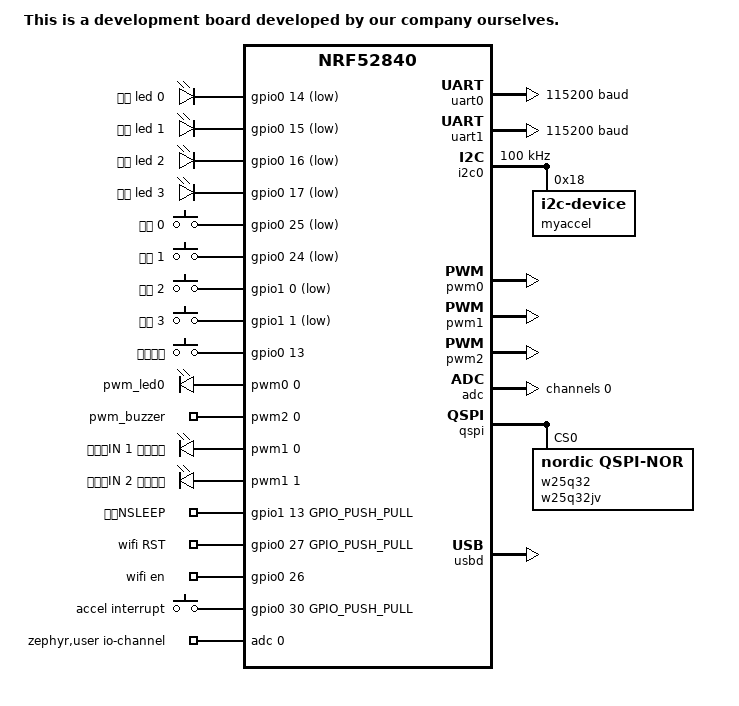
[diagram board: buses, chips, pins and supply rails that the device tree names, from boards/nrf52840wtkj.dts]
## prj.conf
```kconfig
CONFIG_GPIO=y
CONFIG_LOG=y
CONFIG_SERIAL=y
CONFIG_UART_ASYNC_API=y
CONFIG_I2C=y
CONFIG_I2C_NRFX=y
CONFIG_PINCTRL=y
```

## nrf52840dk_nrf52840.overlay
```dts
/* For more help, browse the devicetree documentation at https://docs.zephyrproject.org/latest/build/dts/index.html
 * You can also visit the nRF DeviceTree extension documentation at https://docs.nordicsemi.com/bundle/nrf-connect-vscode/page/guides/ncs_configure_app.html#devicetree-support-in-the-extension
 */
&button0 {
	gpios = <&gpio0 25 (GPIO_ACTIVE_LOW | GPIO_PULL_UP)>;
};

&led0 {
	gpios = <&gpio0 14 GPIO_ACTIVE_LOW>;
};

&led1 {
	gpios = <&gpio0 15 GPIO_ACTIVE_LOW>;
};

&led2 {
	gpios = <&gpio0 16 GPIO_ACTIVE_LOW>;
};

&led3 {
	gpios = <&gpio0 17 GPIO_ACTIVE_LOW>;
};
```

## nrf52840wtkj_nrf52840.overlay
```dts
/* For more help, browse the devicetree documentation at https://docs.zephyrproject.org/latest/build/dts/index.html
 * You can also visit the nRF DeviceTree extension documentation at https://docs.nordicsemi.com/bundle/nrf-connect-vscode/page/guides/ncs_configure_app.html#devicetree-support-in-the-extension
 */
```

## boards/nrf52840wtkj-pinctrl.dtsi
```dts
&pinctrl {
    uart0_default: uart0_default {
        group1 {
            psels = <NRF_PSEL(UART_TX, 0, 8)>;
        };
        group2 {
            psels = <NRF_PSEL(UART_RX, 0, 7)>;
            bias-pull-up;
        };
    };

    uart0_sleep: uart0_sleep {
        group1 {
            psels = <NRF_PSEL(UART_TX, 0, 8)>,
                    <NRF_PSEL(UART_RX, 0, 7)>;
            low-power-enable;
        };
    };

    uart1_default: uart1_default {
        group1 {
            psels = <NRF_PSEL(UART_TX, 0, 6)>;
        };
        group2 {
            psels = <NRF_PSEL(UART_RX, 0, 31)>;
            bias-pull-up;
        };
    };

    uart1_sleep: uart1_sleep {
        group1 {
            psels = <NRF_PSEL(UART_TX, 0, 6)>,
                    <NRF_PSEL(UART_RX, 0, 31)>;
            low-power-enable;
        };
    };

    i2c0_default: i2c0_default {
        group1 {
            psels = <NRF_PSEL(TWIM_SDA, 0, 28)>,
                    <NRF_PSEL(TWIM_SCL, 0, 29)>;
            bias-pull-up;
        };
    };

    i2c0_sleep: i2c0_sleep {
        group1 {
            psels = <NRF_PSEL(TWIM_SDA, 0, 28)>,
                    <NRF_PSEL(TWIM_SCL, 0, 29)>;
            low-power-enable;
        };
    };

    pwm0_default: pwm0_default {
        group1 {
            psels = <NRF_PSEL(PWM_OUT0, 0, 14)>;//配置输出通道0， 实际硬件上的p0.14引脚
            nordic,invert;//配置PWM输出信号反向（翻转高低电平）。
        };
    };

    pwm0_sleep: pwm0_sleep {
        group1 {
            psels = <NRF_PSEL(PWM_OUT0, 0, 14)>;

            low-power-enable;//低功耗模式，当设备进入睡眠状态时，切换到该配置，P0.14 引脚进入低功耗状态，降低待机功耗。
        };
    };

    pwm1_default: pwm1_default {
        group1 {
            psels = <NRF_PSEL(PWM_OUT0, 1, 14)>, //配置输出通道0， 实际硬件上的p1.14引脚
            <NRF_PSEL(PWM_OUT1, 1, 15)>;
        };
    };

    pwm1_sleep: pwm1_sleep {
        group1 {
            psels = <NRF_PSEL(PWM_OUT0, 1, 14)>,
                    <NRF_PSEL(PWM_OUT1, 1, 15)>;
            low-power-enable;//低功耗模式，当设备进入睡眠状态时，切换到该配置，P1.14 引脚进入低功耗状态，降低待机功耗。
        };
    };
    pwm2_default: pwm2_default {
        group1 {
            psels = <NRF_PSEL(PWM_OUT0, 1, 8)>; //配置输出通道0， 实际硬件上的p1.14引脚
        };
    };
    pwm2_sleep: pwm2_sleep {
        group1 {
            psels = <NRF_PSEL(PWM_OUT0, 1, 8)>;
            low-power-enable;//低功耗模式，当设备进入睡眠状态时，切换到该配置，P1.14 引脚进入低功耗状态，降低待机功耗。
        };
    };
    qspi_default: qspi_default {
        group1 {
            psels = <NRF_PSEL(QSPI_CSN, 1, 9)>,
                    <NRF_PSEL(QSPI_SCK, 0, 19)>,
                    <NRF_PSEL(QSPI_IO0, 0, 20)>,
                    <NRF_PSEL(QSPI_IO1, 0, 21)>,
                    <NRF_PSEL(QSPI_IO2, 0, 22)>,
                    <NRF_PSEL(QSPI_IO3, 0, 23)>;
        };
        
    };

    qspi_sleep: qspi_sleep {
        group1 {
            psels = <NRF_PSEL(QSPI_CSN, 1, 9)>,
                    <NRF_PSEL(QSPI_SCK, 0, 19)>,
                    <NRF_PSEL(QSPI_IO0, 0, 20)>,
                    <NRF_PSEL(QSPI_IO1, 0, 21)>,
                    <NRF_PSEL(QSPI_IO2, 0, 22)>,
                    <NRF_PSEL(QSPI_IO3, 0, 23)>;
            low-power-enable;
        };
    };

    i2s0_default: i2s0_default {
        group1 {
            psels = <NRF_PSEL(I2S_SDIN, 1, 12)>,
                    <NRF_PSEL(I2S_LRCK_M, 1, 10)>,
                    <NRF_PSEL(I2S_SCK_M, 1, 11)>;
        };
    };

    i2s0_sleep: i2s0_sleep {
        group1 {
            psels = <NRF_PSEL(I2S_SDIN, 0, 12)>;
            low-power-enable;
        };
    };
};
```

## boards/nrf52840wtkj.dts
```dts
/dts-v1/;
#include <nordic/nrf52840_qiaa.dtsi>
#include "nrf52840wtkj-pinctrl.dtsi"
#include <zephyr/dt-bindings/input/input-event-codes.h>

/ {
	model = "This is a development board developed by our company ourselves.";
	compatible = "wtkj,nrf52840wtkj";

	chosen {
		zephyr,sram = &sram0;
		zephyr,flash = &flash0;
		zephyr,code-partition = &slot0_partition;
		zephyr,console =  &uart0 ;
		zephyr,shell-uart =  &uart0;
		zephyr,uart-mcumgr = &uart0;
		// 为应用程序添加外部闪存
		nordic,pm-ext-flash=&w25q32;
	};

	leds{
		compatible = "gpio-leds";
		led0: led_0{
			gpios = <&gpio0 14 GPIO_ACTIVE_LOW>;
			label = "蓝色 led 0";
		};
		led1: led_1{
			gpios = <&gpio0 15 GPIO_ACTIVE_LOW>;
			label = "蓝色 led 1";
		};
		led2: led_2{
			gpios = <&gpio0 16 GPIO_ACTIVE_LOW>;
			label = "蓝色 led 2";
		};
		led3: led_3{
			gpios = <&gpio0 17 GPIO_ACTIVE_LOW>;
			label = "蓝色 led 3";
		};
	};
	buttons{
		compatible = "gpio-keys";
		button0: button_0{
			gpios = <&gpio0 25 (GPIO_ACTIVE_LOW | GPIO_PULL_UP)>;
			label = "按键 0";
			zephyr,code = <INPUT_KEY_0>;
		};
		button1: button_1{
			gpios = <&gpio0 24 (GPIO_PULL_UP|GPIO_ACTIVE_LOW)>;
			label = "按键 1";
			zephyr,code = <INPUT_KEY_1>;
		};
		button2: button_2{
			gpios = <&gpio1 0 (GPIO_ACTIVE_LOW | GPIO_PULL_UP)>;
			label = "按键 2";
			zephyr,code = <INPUT_KEY_2>;
		};
		button3: button_3{
			gpios = <&gpio1 1 (GPIO_ACTIVE_LOW | GPIO_PULL_UP)>;
			label = "按键 3";
			zephyr,code = <INPUT_KEY_3>;
		};
		touch: button_touch{
			gpios = <&gpio0 13 (GPIO_ACTIVE_HIGH | GPIO_PULL_DOWN)>;
			label = "触控按键";
			zephyr,code = <INPUT_KEY_4>;
		};
	};
	pwmleds{
		compatible = "pwm-leds";
		pwm_led0: pwm_led_0{
			pwms = <&pwm0 0 PWM_MSEC(20) PWM_POLARITY_NORMAL>;
		};
	};
	pwmbuzzer{
		compatible = "pwm-leds";
		pwm_buzzer: pwm_buzzer{
			pwms = <&pwm2 0 PWM_USEC(500) PWM_POLARITY_NORMAL>; //pwm 周期为500us
		};
	};
	motordriver {
		compatible = "pwm-leds";

		/* 通道0：控制电机正转/方向1（关联PWM1通道0） */
		motor_in_1: motor_in_1{
			pwms = <&pwm1 0 PWM_MSEC(20) PWM_POLARITY_NORMAL>;
			label = "电机的IN 1 引脚控制";
		};
		/* 通道1：控制电机反转/方向2（关联PWM1通道1） */
		motor_in_2: motor_in_2{
			pwms = <&pwm1 1 PWM_MSEC(20) PWM_POLARITY_NORMAL>;
			label = "电机的IN 2 引脚控制";
		};
	};
	gpiokeys{
		compatible = "gpio-keys";
		motor_nsleep: motor_nsleep{
			gpios = <&gpio1 13 GPIO_PUSH_PULL>;
			label = "电机NSLEEP";
		};
		wifi_rst: wifi_rst{
			gpios = <&gpio0 27 GPIO_PUSH_PULL>;
			label = "wifi RST";
		};
		wifi_en: wifi_en{
			gpios = <&gpio0 26 0>;
			label = "wifi en";
		};
		accel_interrupt: accel_interrupt{
			gpios = <&gpio0 30 GPIO_PUSH_PULL>;
			label = "accel interrupt";
		};
	};

	/* These aliases are provided for compatibility with samples */
	aliases {
		led0 = &led0;
		led1 = &led1;
		led2 = &led2;
		led3 = &led3;
		pwm-led0 = &pwm_led0;
		sw0 = &button0;
		sw1 = &button1;
		sw2 = &button2;
		sw3 = &button3;
		sw4 = &touch;
		bootloader-led0 = &led0;
		mcuboot-button0 = &button0;
		mcuboot-led0 = &led0;
		watchdog0 = &wdt0;
	};

	zephyr,user {
		io-channels = <&adc 0>;
	};
};

&flash0 {
	partitions {
		compatible = "fixed-partitions";
		#address-cells = <1>;
		#size-cells = <1>;

		boot_partition: partition@0 {
			label = "mcuboot";
			reg = <0x00000000 DT_SIZE_K(48)>;
		};

		slot0_partition: partition@c000 {
			label = "image-0";
			reg = <0x0000c000 DT_SIZE_K(472)>;
		};

		slot1_partition: partition@82000 {
			label = "image-1";
			reg = <0x00082000 DT_SIZE_K(472)>;
		};

		storage_partition: partition@f8000 {
			label = "storage";
			reg = <0x000f8000 DT_SIZE_K(32)>;
		};
	};
};
&gpiote {
	status = "okay";
};
&gpio0 {
	status = "okay";
};
&gpio1 {
	status = "okay";
};

//配置uart0
&uart0 {
	compatible = "nordic,nrf-uarte";
	status = "okay";
	current-speed = <115200>;
	pinctrl-0 = <&uart0_default>;
	pinctrl-1 = <&uart0_sleep>;
	pinctrl-names = "default","sleep";
};

//配置uart1
&uart1 {
	compatible = "nordic,nrf-uarte";
	status = "okay";
	current-speed = <115200>;
	pinctrl-0 = <&uart1_default>;
	pinctrl-1 = <&uart1_sleep>;
	pinctrl-names = "default","sleep";
};

//配置i2c0
&i2c0 {
	compatible = "nordic,nrf-twim";
	status = "okay";
	pinctrl-0 = <&i2c0_default>;
	pinctrl-1 = <&i2c0_sleep>;
	pinctrl-names = "default","sleep";
	clock-frequency = <I2C_BITRATE_STANDARD>;
	myaccel: lis2dh12@18 {
		compatible = "i2c-device";
		reg = <0x18>;
	};
};

//配置pwm0
&pwm0 {
	status = "okay";
	pinctrl-0 = <&pwm0_default>;
	pinctrl-1 = <&pwm0_sleep>;//注：这里有下画波浪线，是因为引脚被 led0 也使用了。
	pinctrl-names = "default","sleep";
};

//配置pwm1
&pwm1 {
	status = "okay";
	pinctrl-0 = <&pwm1_default>;
	pinctrl-1 = <&pwm1_sleep>;
	pinctrl-names = "default","sleep";
};
&pwm2 {
	status = "okay";
	pinctrl-0 = <&pwm2_default>;
	pinctrl-1 = <&pwm2_sleep>;
	pinctrl-names = "default","sleep";
};
&adc {
	#address-cells = <1>;
	#size-cells = <0>;
	status = "okay";
	channel@0 {
		reg = <0>;
		zephyr,gain = "ADC_GAIN_1_6";//增益 6倍
		zephyr,reference = "ADC_REF_INTERNAL"; //内部 0.6伏参考电压
		zephyr,acquisition-time = <ADC_ACQ_TIME_DEFAULT>;//采样时间
		zephyr,input-positive = <NRF_SAADC_AIN0>; /* P0.02 for nRF52xx, P0.04 for nRF5340 */
		zephyr,resolution = <12>;//分辨率12位
	};
};


&qspi {
	status = "okay";
	pinctrl-0 = <&qspi_default>;
	pinctrl-1 = <&qspi_sleep>;
	pinctrl-names = "default", "sleep";
	w25q32: w25q32jv@0 {
		compatible = "nordic,qspi-nor";
		status = "okay";
		reg = <0x0>;
		sck-frequency = <10000000>;/*时钟频率10Mhz */
		jedec-id = [ ef 40 16  ]; /* 厂商ID+设备ID，手册8.1节 */
		size = <0x2000000>;/* 这里填写flash大小（位） 0x2000000 位 = 0x400000 字节 =  4096kB = 4MB */

		/* Quad 读指令：Fast Read Quad Output（0x6Bh），需 QE=1 */
		readoc = "fastread";
		/* Quad 写指令：Quad Input Page Program（0x32h），需 QE=1 */
		writeoc = "pp";

		sfdp-bfp = [ e5 20 f1 ff ff ff ff 03 44 eb 08 6b 08 3b 04 bb ee ff ff ff ff ff 00 ff ff ff 00 ff 0c 10 0f 52 10 d8 00 ff 23 72 f5 00 82 ed 04 cc 44 83 68 44 30 b0 30 b0 f7 c4 d5 5c 00 be 29 ff f0 d0 ff ff  ];
		has-dpd;                          // W25Q32 支持 DPD，保留该属性
		t-enter-dpd = <300>;              // 进入 DPD 模式等待时间：0.3 微秒（µs，datasheet 规定最小 300ns）
		t-exit-dpd = <10000>;             // 退出 DPD 模式等待时间：10 微秒（µs，需等待芯片唤醒稳定）
		
	};
};

// &i2s0 {
	//     status = "okay";
	//     pinctrl-0 = <&i2s0_default>;
	//     pinctrl-1 = <&i2s0_sleep>;
	//     pinctrl-names = "default", "sleep";
// };


zephyr_udc0: &usbd {
	compatible = "nordic,nrf-usbd";
	status = "okay";
};
&uicr {
	gpio-as-nreset;
};
```

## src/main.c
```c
#include <stdio.h>
#include <zephyr/kernel.h>
#include <zephyr/drivers/gpio.h>

//定义栈大小
#define STACK_THREAD0_SIZE 512
#define STACK_THREAD1_SIZE 512
#define STACK_WORKER_SIZE 512

//定义线程优先级
#define THREAD0_PRIORITY 2
#define THREAD1_PRIORITY 3
#define WORKER_PRIORITY 4

K_THREAD_STACK_DEFINE(my_stack_area, STACK_THREAD0_SIZE);
struct k_work_q offload_work_q;//线程列队结构体
struct k_work work;//工作项结构体

void emulate_work(void)
{
    for (volatile int i = 0; i < 100000; i++);
}
void offload_function(struct k_work *work)
{
    uint64_t ts_start = k_uptime_get();
    emulate_work();
    int64_t work_run_time = k_uptime_delta(&ts_start);
    printk("[WORKER] work execute time: %lld ms\n", work_run_time);
}
void thread0(void)
{
        //初始化
    k_work_queue_start(&offload_work_q,my_stack_area,
                       STACK_WORKER_SIZE,
                       WORKER_PRIORITY,
                       NULL);
    k_work_init(&work, offload_function);
    uint64_t time_stap;
    int64_t delta_time;
    while (1)
    {
        time_stap = k_uptime_get();
        k_work_submit_to_queue(&offload_work_q, &work);
        delta_time = k_uptime_delta(&time_stap);
        printk("Thread 0 is running, delta time: %lld ms\n", delta_time);
        k_msleep(20);
    }
}
void thread1(void)
{
    uint64_t time_stap;
    int64_t delta_time;
    while (1)
    {
        time_stap = k_uptime_get();
        emulate_work();
        delta_time = k_uptime_delta(&time_stap);
        printk("Thread 1 is running, delta time: %lld ms\n", delta_time);
        k_msleep(20);
    }
}
K_THREAD_DEFINE(thread0_id, STACK_THREAD0_SIZE, thread0, NULL, NULL, NULL, THREAD0_PRIORITY, 0, 0);     
K_THREAD_DEFINE(thread1_id, STACK_THREAD1_SIZE, thread1, NULL, NULL, NULL, THREAD1_PRIORITY, 0, 0);




/* //多线程学习
#include <stdio.h>
#include "zephyr/kernel.h"
#include <zephyr/drivers/gpio.h>
#include <zephyr/sys/atomic.h>
#define STACKSIZE 1024	   // 栈大小
#define THREAD0_PRIORITY 6 // 优先级高会打断优先级低
#define THREAD1_PRIORITY 7 // 线程1 优先级
#define LED_COUNT       2

static const struct gpio_dt_spec leds[LED_COUNT] = {
    GPIO_DT_SPEC_GET(DT_ALIAS(led0), gpios),
    GPIO_DT_SPEC_GET(DT_ALIAS(led3), gpios),
};
void thread0()
{
    gpio_pin_configure_dt(&leds[0],GPIO_OUTPUT|GPIO_ACTIVE_LOW);
    gpio_pin_set_dt(&leds[0],1);
    gpio_pin_configure_dt(&leds[1],GPIO_OUTPUT|GPIO_ACTIVE_LOW);
    gpio_pin_set_dt(&leds[1],1);
	while (1)
	{
        
        gpio_pin_toggle_dt(&leds[0]); // 翻转LED逻辑电平
        gpio_pin_toggle_dt(&leds[1]);
		printk("hello i am thread0\n");
        k_msleep(1000); // 让出CPU，线程0进入就绪态
	}
}
 void thread1()
{
    gpio_pin_configure_dt(&leds[1],GPIO_OUTPUT|GPIO_ACTIVE_LOW);
    gpio_pin_set_dt(&leds[1],1);
	while (1)
	{
        gpio_pin_toggle_dt(&leds[1]); // 翻转LED逻辑电平
		printk("hello i am thread1\n");
        k_msleep(100); // 让出CPU，线程1进入就绪态
	}
} 
// 静态方式创建线程
K_THREAD_DEFINE(thread0_id, STACKSIZE, thread0, NULL, NULL, NULL, THREAD0_PRIORITY, 0, 0);
K_THREAD_DEFINE(thread1_id, STACKSIZE, thread1, NULL, NULL, NULL, THREAD1_PRIORITY, 0, 0);

 int main(void)
{
	k_sleep(K_SECONDS(1));
	return 0;
}  */



                    
/* //加速度传感器 LIS2DH12 测试程序
#include <errno.h>
#include <stdint.h>
#include <zephyr/drivers/i2c.h>
#include <zephyr/kernel.h>
#include <zephyr/sys/util.h>

#define LIS2DH12_REG_WHO_AM_I       0x0F
#define LIS2DH12_REG_CTRL1          0x20
#define LIS2DH12_REG_CTRL4          0x23
#define LIS2DH12_REG_STATUS         0x27
#define LIS2DH12_REG_OUT_X_L        0x28
#define LIS2DH12_WHO_AM_I_VALUE     0x33
#define LIS2DH12_AUTO_INCREMENT     BIT(7)

//CTRL_REG1：100 Hz，X/Y/Z 启用，高分辨率模式。
#define LIS2DH12_CTRL1_ODR_100_HZ   (5U << 4)
#define LIS2DH12_CTRL1_XYZ_ENABLE   (BIT(0) | BIT(1) | BIT(2))
#define LIS2DH12_CTRL1_VALUE        \
	(LIS2DH12_CTRL1_ODR_100_HZ | LIS2DH12_CTRL1_XYZ_ENABLE)

//CTRL_REG4：块数据更新，高分辨率，量程为±2g
#define LIS2DH12_CTRL4_BDU          BIT(7)
#define LIS2DH12_CTRL4_FS_2G        (0U << 4)
#define LIS2DH12_CTRL4_HR           BIT(3)
#define LIS2DH12_CTRL4_VALUE        \
	(LIS2DH12_CTRL4_BDU | LIS2DH12_CTRL4_FS_2G | LIS2DH12_CTRL4_HR)

#define LIS2DH12_STATUS_DRDY_MASK   BIT_MASK(4)
#define LIS2DH12_ACCEL_BURST_SIZE   7U

struct lis2dh12_sample {
	uint8_t status;

	int16_t x_raw;
	int16_t y_raw;
	int16_t z_raw;

	int32_t x_mg;
	int32_t y_mg;
	int32_t z_mg;
};

static const struct i2c_dt_spec lis2dh12 =
	I2C_DT_SPEC_GET(DT_NODELABEL(myaccel));

static int lis2dh12_write_reg(uint8_t reg, uint8_t value)
{
	uint8_t buffer[2] = {reg, value};

	return i2c_write_dt(&lis2dh12, buffer, sizeof(buffer));
}

static int lis2dh12_init(void)
{
	uint8_t id = 0;
	int ret;

	if (!i2c_is_ready_dt(&lis2dh12)) {
		printk("LIS2DH12: I2C bus is not ready\n");
		return -ENODEV;
	}
	//The device needs a few milliseconds after power-on. 
	k_sleep(K_MSEC(10));

	ret = i2c_reg_read_byte_dt(&lis2dh12, LIS2DH12_REG_WHO_AM_I, &id);
	if (ret < 0) {
		printk("LIS2DH12: WHO_AM_I read failed: %d\n", ret);
		return ret;
	}
	if (id != LIS2DH12_WHO_AM_I_VALUE) {
		printk("LIS2DH12: unexpected WHO_AM_I 0x%02X\n", id);
		return -ENODEV;
	}
	// 在更改传感器配置时，请停止传感器
	ret = lis2dh12_write_reg(LIS2DH12_REG_CTRL1, 0);
	if (ret < 0) {
		return ret;
	}

	ret = lis2dh12_write_reg(LIS2DH12_REG_CTRL4, LIS2DH12_CTRL4_VALUE);
	if (ret < 0) {
		return ret;
	}

	ret = lis2dh12_write_reg(LIS2DH12_REG_CTRL1, LIS2DH12_CTRL1_VALUE);
	if (ret < 0) {
		return ret;
	}

	k_sleep(K_MSEC(20));
	printk("LIS2DH12: initialized, WHO_AM_I=0x%02X\n", id);

	return 0;
}
//在±2 g的高分辨率模式下，12位原始值的标度为
//每计数单位约1000/1024毫克。
static int32_t lis2dh12_raw_to_mg(int16_t raw)
{
	int32_t scaled = (int32_t)raw * 1000;

	return (scaled >= 0) ? ((scaled + 512) / 1024)
			     : ((scaled - 512) / 1024);
}

static void lis2dh12_get_axis(const uint8_t data[LIS2DH12_ACCEL_BURST_SIZE],
			      size_t offset, int16_t *raw, int32_t *mg)
{
	int16_t value;

	value = (int16_t)((uint16_t)data[offset] |
			  ((uint16_t)data[offset + 1] << 8));

	//LIS2DH 数据为左对齐；保留带符号的 12 位值。
	*raw = value >> 4;
	*mg = lis2dh12_raw_to_mg(*raw);
}

static int lis2dh12_read(struct lis2dh12_sample *sample)
{
	uint8_t data[LIS2DH12_ACCEL_BURST_SIZE];
	int ret;
	//
    //在一次自动递增的传输中读取 STATUS 以及随后的 X/Y/Z 的 LSB/MSB。
    //这样可以确保三个轴的数据均来自同一个采样点。
    //
	ret = i2c_burst_read_dt(
		&lis2dh12,
		LIS2DH12_REG_STATUS | LIS2DH12_AUTO_INCREMENT,
		data,
		sizeof(data));

	if (ret < 0) {
		return ret;
	}

	sample->status = data[0];
	if ((sample->status & LIS2DH12_STATUS_DRDY_MASK) == 0U) {
		return -EAGAIN;
	}

	lis2dh12_get_axis(data, 1, &sample->x_raw, &sample->x_mg);
	lis2dh12_get_axis(data, 3, &sample->y_raw, &sample->y_mg);
	lis2dh12_get_axis(data, 5, &sample->z_raw, &sample->z_mg);

	return 0;
}
int main(void)
{
	struct lis2dh12_sample sample = {0};
	int ret;

	ret = lis2dh12_init();
	if (ret < 0) {
		printk("LIS2DH12: initialization failed: %d\n", ret);
		while (1) {
			k_sleep(K_FOREVER);
		}
	}
	while (1) {
		ret = lis2dh12_read(&sample);
		if (ret == 0) {
			printk("raw X=%d Y=%d Z=%d | mg "
			       "X=%d Y=%d Z=%d\n",
			       sample.x_raw, sample.y_raw, sample.z_raw,
			       sample.x_mg, sample.y_mg, sample.z_mg);
		} else if (ret != -EAGAIN) {
			printk("LIS2DH12: read failed: %d\n", ret);
		}

		k_sleep(K_MSEC(100));
	}
} */




/*i2c通信测试
#include <stdio.h>
#include <zephyr/kernel.h>
#include <zephyr/logging/log.h>
#include <zephyr/drivers/i2c.h>
static struct i2c_dt_spec i2c0_struct = I2C_DT_SPEC_GET(DT_NODELABEL(myaccel));

int main(void)
{

    while (1) 
    {
        uint8_t who_am_i = 0x0f;
        uint8_t rx_buf[1] = {0};
        i2c_write_dt(&i2c0_struct,&who_am_i, 1);   
        i2c_read_dt(&i2c0_struct, rx_buf, 1);
        k_sleep(K_SECONDS(0.1));
    }
    return 0;
} */




/* //串口异步收发（调用中断）
#include <stdio.h>
#include <zephyr/kernel.h>
#include <zephyr/logging/log.h>
#include <zephyr/drivers/uart.h>

LOG_MODULE_REGISTER(main, LOG_LEVEL_DBG);//设置日志输出级别为DBG，低于该级别的日志不输出
#define UART_NODE DT_NODELABEL(uart0)
const struct device *uart_dev = DEVICE_DT_GET(UART_NODE);
uint8_t rx_buf[10]={0};
void uart_cd(const struct device *dev, 
    struct uart_event *evt, void *user_data)
{
    switch(evt->type)
    {
        case UART_TX_DONE:
            LOG_INF("整个TX缓冲区已传输完毕。");
            break;
        case UART_TX_ABORTED:
            LOG_INF("由于超时或调用了uart_tx_abort，传输被中止");
            break;
        case UART_RX_RDY:
            LOG_INF("已接收的数据已准备好进行处理。");
            LOG_INF("接收到数据时：%s", evt->data.rx.buf);
            break;
        case UART_RX_BUF_REQUEST:
            LOG_INF("驱动程序请求下一个缓冲区以实现连续接收");
            break;
        case UART_RX_BUF_RELEASED:
            LOG_INF(" UART 驱动程序不再使用缓冲区");
            break;
        case  UART_RX_DISABLED: 
            uart_rx_enable(uart_dev,rx_buf,sizeof(rx_buf),100);
            LOG_INF(" RX 已被禁用，可以重新启用。");
            break;
        case  UART_RX_STOPPED:
            LOG_INF("RX 因外部事件而停止运行。");
            break;
        default:
            LOG_INF("Unknown event type: %d", evt->type);
            break;
    }

}
int main(void)
{
    struct uart_config cfg = {
        .baudrate=115200,
        .parity=UART_CFG_PARITY_NONE,//无奇偶校验
        .stop_bits=UART_CFG_STOP_BITS_1,
        .data_bits=UART_CFG_DATA_BITS_8,
        .flow_ctrl=UART_CFG_FLOW_CTRL_NONE//无流控
    };
    // 配置UART
    uart_configure(uart_dev, &cfg);
    //配置回调函数
    uart_callback_set(uart_dev, uart_cd, NULL);
    uart_rx_enable(uart_dev,rx_buf,sizeof(rx_buf),100);
    while (1) 
    {
        k_sleep(K_SECONDS(1));
    }
} */




/* //中断流水灯
//  * 1. 按键0触摸一次，4个LED流水点亮，按键0触摸第二次，3个LED流水点亮，按键0触摸第三次，2个LED流水点亮，按键0触摸第四次，LED0常亮，按键0触摸第五次，全部熄灭。
//  * 2. 按键0触摸时有消抖处理。
//  * 3. LED流水点亮的速度为200ms/盏。
//  * 4. LED0常亮时不闪烁。
 
#include <zephyr/kernel.h>
#include <zephyr/drivers/gpio.h>
#include <zephyr/logging/log.h>
#include <zephyr/sys/atomic.h>

LOG_MODULE_REGISTER(main,LOG_LEVEL_ERR);//设置日志输出级别为ERR，低于该级别的日志不输出

#define button0_NODE DT_NODELABEL(button0)
#define LED_COUNT       4
#define FLOW_DELAY_MS   200
#define DEBOUNCE_MS     200

static const struct gpio_dt_spec button0 =
    GPIO_DT_SPEC_GET(button0_NODE, gpios);
static const struct gpio_dt_spec leds[LED_COUNT] = {
    GPIO_DT_SPEC_GET(DT_ALIAS(led0), gpios),
    GPIO_DT_SPEC_GET(DT_ALIAS(led1), gpios),
    GPIO_DT_SPEC_GET(DT_ALIAS(led2), gpios),
    GPIO_DT_SPEC_GET(DT_ALIAS(led3), gpios),
};
static struct gpio_callback button0_cb;
// 0=全灭，1=四灯流水，2=三灯流水，3=两灯流水，4=单灯常亮 
static atomic_t mode;
//用于通知主线程模式发生变化 
K_SEM_DEFINE(mode_sem, 0, 1);
// 只在 GPIO 中断中访问 
static int64_t last_button0_ms;
static bool has_button0ed;
//触摸中断回调 
static void button0_callback(const struct device *port,
                           struct gpio_callback *cb,
                           gpio_port_pins_t pins)
{
    ARG_UNUSED(port);
    ARG_UNUSED(cb);
    if ((pins & BIT(button0.pin)) == 0U) {
        return;
    }
    int64_t now = k_uptime_get();
    // 过滤短时间内重复产生的触摸中断 (消抖)
    if (has_button0ed && (now - last_button0_ms < DEBOUNCE_MS)) {
        return;
    }
    has_button0ed = true;
    last_button0_ms = now;
    int next_mode = (atomic_get(&mode) + 1) % 5;
    atomic_set(&mode, next_mode);
    k_sem_give(&mode_sem);
}
//index 对应的灯亮，其余灯灭；index=-1 时全灭
static int show_led(int index)
{
    int ret;
    // 先全部关闭，再开启目标灯
    for (int i = 0; i < LED_COUNT; i++) 
    {
        ret = gpio_pin_set_dt(&leds[i], 0);
        if (ret < 0) 
        {
            printk("LED%d off failed: %d\n", i, ret);
            return ret;
        }
    }
    if (index >= 0 && index < LED_COUNT) 
    {
        ret = gpio_pin_set_dt(&leds[index], 1);
        if (ret < 0) {
            printk("LED%d on failed: %d\n", index, ret);
            return ret;
        }
    }
    return 0;
}
int main(void)
{
    int ret;
    // 检查并配置4个LED
    for (int i = 0; i < LED_COUNT; i++) {
        if (!gpio_is_ready_dt(&leds[i])) {
            printk("LED%d is not ready\n", i);
            return 0;
        }
        ret = gpio_pin_configure_dt(
            &leds[i], GPIO_OUTPUT_INACTIVE);
        if (ret < 0) {
            printk("LED%d configure failed: %d\n", i, ret);
            return 0;
        }
    }
    if (!gpio_is_ready_dt(&button0)) {
        printk("button0 is not ready\n");
        return 0;
    }
    ret = gpio_pin_configure_dt(&button0, GPIO_INPUT);
    if (ret < 0) {
        printk("button0 configure failed: %d\n", ret);
        return 0;
    }
    // 先注册回调，再启用中断
    gpio_init_callback(&button0_cb,
                       button0_callback,
                       BIT(button0.pin));
    ret = gpio_add_callback(button0.port, &button0_cb);
    if (ret < 0) {
        printk("Callback registration failed: %d\n", ret);
        return 0;
    }
    ret = gpio_pin_interrupt_configure_dt(
        &button0, GPIO_INT_EDGE_TO_ACTIVE);
    if (ret < 0) {
        printk("Interrupt configure failed: %d\n", ret);
        return 0;
    }
    printk("Ready: button0 to change LED mode\n");

    int previous_mode = -1;
    int led_index = 0;
    while (1) {
        LOG_INF("HELLOWORLD");//cpu空闲时有输出
        LOG_ERR("HELLOWORLD");//输出与优先级设置有关
        // 读取当前模式
        int current_mode = atomic_get(&mode);
        // 切换模式时，从 LED0 重新开始
        if (current_mode != previous_mode) {
            previous_mode = current_mode;
            led_index = 0;

            printk("Mode: %d\n", current_mode);
        }
        if (current_mode == 0) {
            // 全灭，等待下一次触摸
            if (show_led(-1) < 0) {
                return 0;
            }
            k_sem_take(&mode_sem, K_FOREVER);
        } else if (current_mode == 4) {
            // LED0 常亮，等待下一次触摸
            if (show_led(0) < 0) {
                return 0;
            }
            k_sem_take(&mode_sem, K_FOREVER);
        } 
        else {
            // 模式1/2/3分别使用4/3/2个灯
            int active_led_count = 5 - current_mode;

            if (show_led(led_index) < 0){
                return 0;
            }
            // 等待200 ms后切换下一盏灯。若触摸产生信号，则提前结束等待,回到循环顶部处理新模式。
            ret = k_sem_take(&mode_sem, K_MSEC(FLOW_DELAY_MS));
            if (ret == -EAGAIN) 
            {
                led_index =
                    (led_index + 1) % active_led_count;
            }
        }
    }

    return 0;
}
 */




/* //zephyr GPIO中断回调,按键0触摸一次，打印“button0 pressed!”。
#include <zephyr/kernel.h>
#include <zephyr/drivers/gpio.h>
#include <zephyr/sys/atomic.h>
#define button0_NODE DT_NODELABEL(button0)//定义别名
struct gpio_dt_spec button0_struct = GPIO_DT_SPEC_GET(button0_NODE, gpios);//定义GPIO属性
struct gpio_callback gpio_cb_struct={0};//定义回调函数结构体

    //  @brief 回调函数
    //  @param port Device struct for the GPIO device.
    //  @param cb Original struct gpio_callback owning this handler
    //  @param pi    ns Mask of pins that triggers the callback handler
     
    void gpio_callback (const struct device *port,
					struct gpio_callback *cb,
					gpio_port_pins_t pins)             
{
    if(pins==BIT(button0_struct.pin))//判断是否是按键引脚触发的中断
    {
        printk("button0 pressed!\n");
    }
}
int main(void)
{
    // 检查按键硬件外设是否就绪
    if (gpio_is_ready_dt(&button0_struct) == false) 
    {
        printk("button0 is not ready\n");
        // printk——zephyr内核的打印函数(库较小)，printf——C标准库的打印函数
        return 0; // 按键设备异常，直接退出main
    }
    // 配置为输入
    gpio_pin_configure_dt(&button0_struct, GPIO_INPUT);
    //配置为上升沿触发中断
    gpio_pin_interrupt_configure_dt(&button0_struct, GPIO_INT_EDGE_TO_ACTIVE);
    //初始化回调函数
    gpio_init_callback(&gpio_cb_struct, gpio_callback, BIT(button0_struct.pin));
    //注册回调函数
    gpio_add_callback(button0_struct.port, &gpio_cb_struct);
    // 读取一次按键当前电平
    int res = gpio_pin_get_dt(&button0_struct);
    printk("button0 state: %d\n", res);

    return 0;
}   */




/*  //LED0闪烁
#include <zephyr/kernel.h>
#include <zephyr/drivers/gpio.h>
#include <zephyr/sys/atomic.h>
//获取设备树里 button0 节点的GPIO信息
#define button0_NODE DT_NODELABEL(button0)  
struct gpio_dt_spec button0_struct=GPIO_DT_SPEC_GET(button0_NODE,gpios);

// 获取设备树里 led0 节点的GPIO信息
#define LED_NODE DT_NODELABEL(led0)
struct gpio_dt_spec led_struct=GPIO_DT_SPEC_GET(LED_NODE,gpios);
int main(void)
{
    // 检查按键硬件外设是否就绪
    if (gpio_is_ready_dt(&button0_struct)==false) 
    {
        printf("button0 is not ready\n");
        return 0; // 按键设备异常，直接退出main
    }
    // 检查LED硬件外设是否就绪
    if (gpio_is_ready_dt(&led_struct)==false) 
    {
        printf("LED is not ready\n");
        return 0; // LED设备异常，直接退出main
    }

    // 配置按键：输入、低电平有效、上拉电阻
    gpio_pin_configure_dt(&button0_struct,GPIO_INPUT|GPIO_ACTIVE_LOW|GPIO_PULL_UP);
    // 配置LED：输出、低电平有效
    gpio_pin_configure_dt(&led_struct,GPIO_OUTPUT|GPIO_ACTIVE_LOW);
    // 读取一次按键当前电平（**只在程序启动瞬间读一次，不在循环内**）
    int res=gpio_pin_get_dt(&button0_struct);

    // 设置LED逻辑值=1
    // 因为配置了GPIO_ACTIVE_LOW，逻辑1 → 引脚输出低电平
    gpio_pin_set_dt(&led_struct,1);

    // 无限循环
    while (1)
    {
        gpio_pin_toggle_dt(&led_struct); // 翻转LED逻辑电平
        k_sleep(K_SECONDS(1));            // 线程休眠1秒，让出CPU
    }
    return 0;
}
 */
```
